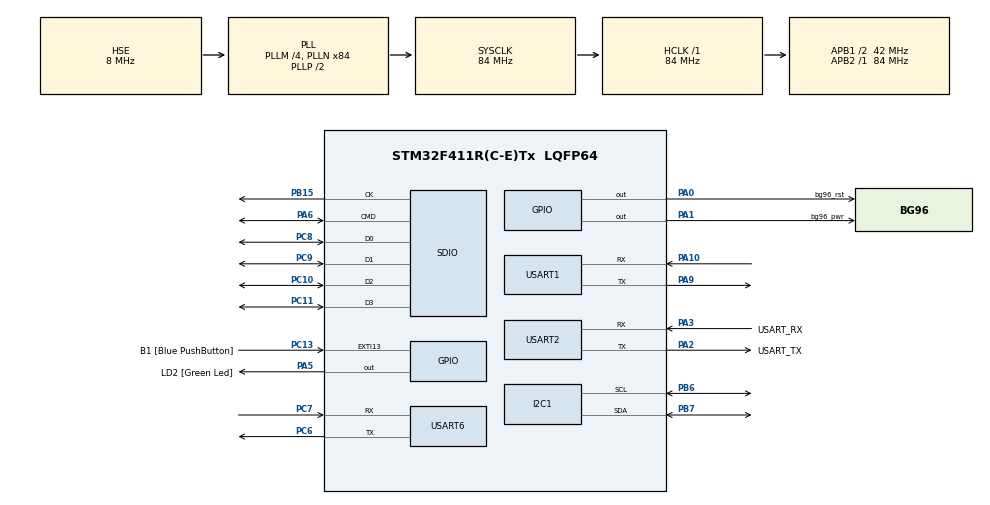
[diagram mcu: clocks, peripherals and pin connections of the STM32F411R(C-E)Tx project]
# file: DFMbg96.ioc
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Mcu.Family=STM32F4
Mcu.Name=STM32F411R(C-E)Tx
Mcu.Package=LQFP64
NVIC.PriorityGroup=NVIC_PRIORITYGROUP_0
NVIC.USART1_IRQn=true\:0\:0\:false\:false\:true\:true\:true
NVIC.USART6_IRQn=true\:0\:0\:false\:false\:true\:true\:true
PA0-WKUP.GPIO_Label=bg96_rst
PA0-WKUP.Signal=GPIO_Output
PA1.GPIO_Label=bg96_pwr
PA1.Signal=GPIO_Output
PA10.Mode=Asynchronous
PA10.Signal=USART1_RX
PA13.GPIO_Label=TMS
PA13.Mode=Serial_Wire
PA13.Signal=SYS_JTMS-SWDIO
PA14.GPIO_Label=TCK
PA14.Mode=Serial_Wire
PA14.Signal=SYS_JTCK-SWCLK
PA2.GPIO_Label=USART_TX
PA2.Mode=Asynchronous
PA2.Signal=USART2_TX
PA3.GPIO_Label=USART_RX
PA3.Mode=Asynchronous
PA3.Signal=USART2_RX
PA5.GPIO_Label=LD2 [Green Led]
PA5.Signal=GPIO_Output
PA6.Mode=SD_4_bits_Wide_bus
PA6.Signal=SDIO_CMD
PA9.Mode=Asynchronous
PA9.Signal=USART1_TX
PB15.Mode=SD_4_bits_Wide_bus
PB15.Signal=SDIO_CK
PB3.GPIO_Label=SWO
PB3.Signal=SYS_JTDO-SWO
PB6.Mode=I2C
PB6.Signal=I2C1_SCL
PB7.Mode=I2C
PB7.Signal=I2C1_SDA
PC10.Mode=SD_4_bits_Wide_bus
PC10.Signal=SDIO_D2
PC11.Mode=SD_4_bits_Wide_bus
PC11.Signal=SDIO_D3
PC13-ANTI_TAMP.GPIO_Label=B1 [Blue PushButton]
PC13-ANTI_TAMP.GPIO_ModeDefaultEXTI=GPIO_MODE_IT_FALLING
PC13-ANTI_TAMP.Signal=GPXTI13
PC14-OSC32_IN.Mode=LSE-External-Oscillator
PC14-OSC32_IN.Signal=RCC_OSC32_IN
PC15-OSC32_OUT.Mode=LSE-External-Oscillator
PC15-OSC32_OUT.Signal=RCC_OSC32_OUT
PC6.Mode=Asynchronous
PC6.Signal=USART6_TX
PC7.Mode=Asynchronous
PC7.Signal=USART6_RX
PC8.Mode=SD_4_bits_Wide_bus
PC8.Signal=SDIO_D0
PC9.Mode=SD_4_bits_Wide_bus
PC9.Signal=SDIO_D1
PH0\ -\ OSC_IN.Mode=HSE-External-Clock-Source
PH0\ -\ OSC_IN.Signal=RCC_OSC_IN
PH1\ -\ OSC_OUT.Mode=HSE-External-Clock-Source
PH1\ -\ OSC_OUT.Signal=RCC_OSC_OUT
ProjectManager.HeapSize=0x200
ProjectManager.StackSize=0x400
ProjectManager.TargetToolchain=STM32CubeIDE
RCC.48MHZClocksFreq_Value=42000000
RCC.AHBFreq_Value=84000000
RCC.APB1CLKDivider=RCC_HCLK_DIV2
RCC.APB1Freq_Value=42000000
RCC.APB1TimFreq_Value=84000000
RCC.APB2Freq_Value=84000000
RCC.APB2TimFreq_Value=84000000
RCC.CortexFreq_Value=84000000
RCC.FLatency-AdvancedSettings=FLASH_LATENCY_2
RCC.HCLKFreq_Value=84000000
RCC.HSE_VALUE=8000000
RCC.HSI_VALUE=16000000
RCC.PLLM=4
RCC.PLLN=84
RCC.PLLSourceVirtual=RCC_PLLSOURCE_HSE
RCC.SYSCLKFreq_VALUE=84000000
RCC.SYSCLKSource=RCC_SYSCLKSOURCE_PLLCLK
RCC.VCOOutputFreq_Value=168000000
USART1.VirtualMode=VM_ASYNC
USART2.VirtualMode=VM_ASYNC
USART6.VirtualMode=VM_ASYNC
VP_TIM3_VS_ClockSourceINT.Mode=Internal
board=NUCLEO-F411RE

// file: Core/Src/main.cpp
/* USER CODE BEGIN Header */
/**
  ******************************************************************************
  * @file           : main.c
  * @brief          : Main program body
  ******************************************************************************
  * @attention
  *
  * <h2><center>&copy; Copyright (c) 2021 STMicroelectronics.
  * All rights reserved.</center></h2>
  *
  * This software component is licensed by ST under BSD 3-Clause license,
  * the "License"; You may not use this file except in compliance with the
  * License. You may obtain a copy of the License at:
  *                        opensource.org/licenses/BSD-3-Clause
  *
  ******************************************************************************
  */
/* USER CODE END Header */
#include "main.h"
#include "i2c.h"
#include "sdio.h"
#include "tim.h"
#include "usart.h"
#include "gpio.h"
/* USER CODE BEGIN Includes */
#include "ArduinoWrapper.h"
#include "UartRingbuffer.h"
#include "at_cmd_parser.h"
/* USER CODE END Includes */

/* USER CODE BEGIN PTD */
ATCmdParser m_parser = ATCmdParser();
/* USER CODE END PTD */

/* USER CODE BEGIN PD */

#define RESP_OK        "OK\r\n"
#define RET_OK         1
#define RET_NOK        -1
#define DEBUG_ENABLE   1
#define DEBUG_DISABLE  0
#define ON     1
#define OFF    0

#define PWR_PIN 32
#define RST_PIN 33

#define MAX_BUF_SIZE        1024

#define BG96_APN_PROTOCOL_IPv4     1
#define BG96_APN_PROTOCOL_IPv6     2
#define BG96_DEFAULT_TIMEOUT       1000
#define BG96_WAIT_TIMEOUT    3000
#define BG96_CONNECT_TIMEOUT       15000
#define BG96_SEND_TIMEOUT    500
#define BG96_RECV_TIMEOUT    500

#define BG96_APN_PROTOCOL    BG96_APN_PROTOCOL_IPv6
#define WM_N400MSE_DEFAULT_BAUD_RATE       115200
#define BG96_PARSER_DELIMITER      "\r\n"

#define CATM1_APN_SKT  "lte-internet.sktelecom.com"

#define CATM1_DEVICE_NAME_BG96     "BG96"
#define DEVNAME         CATM1_DEVICE_NAME_BG96

#define LOGDEBUG(x, ...)     if(CATM1_DEVICE_DEBUG == DEBUG_ENABLE) { printf("\r\n[%s] ", DEVNAME);  printf((x), ##__VA_ARGS__); }
#define MYPRINTF(x, ...)     {printf("\r\n[MAIN] ");  printf((x), ##__VA_ARGS__);}

// Sensors
#define MBED_CONF_IOTSHIELD_SENSOR_CDS     A0
#define MBED_CONF_IOTSHIELD_SENSOR_TEMP    A1

// Debug message settings
#define BG96_PARSER_DEBUG    DEBUG_DISABLE
#define CATM1_DEVICE_DEBUG         DEBUG_ENABLE

#define REQUESTED_PERIODIC_TAU    "10100101"
#define REQUESTED_ACTIVE_TIME     "00100100"

/* MQTT */
#define MQTT_EOF        0x1A
#define MQTT_QOS0       0
#define MQTT_QOS1       1
#define MQTT_QOS2       2
#define MQTT_RETAIN     0

/* SSL/TLS */
// Ciphersuites
#define BG96_TLS_RSA_WITH_AES_256_CBC_SHA           "0x0035"
#define BG96_TLS_RSA_WITH_AES_128_CBC_SHA           "0x002F"
#define BG96_TLS_RSA_WITH_RC4_128_SHA       "0x0005"
#define BG96_TLS_RSA_WITH_RC4_128_MD5       "0x0004"
#define BG96_TLS_RSA_WITH_3DES_EDE_CBC_SHA          "0x000A"
#define BG96_TLS_RSA_WITH_AES_256_CBC_SHA256        "0x003D"
#define BG96_TLS_ECDHE_RSA_WITH_RC4_128_SHA         "0xC011"
#define BG96_TLS_ECDHE_RSA_WITH_3DES_EDE_CBC_SHA    "0xC012"
#define BG96_TLS_ECDHE_RSA_WITH_AES_128_CBC_SHA     "0xC013"
#define BG96_TLS_ECDHE_RSA_WITH_AES_256_CBC_SHA     "0xC014"
#define BG96_TLS_ECDHE_RSA_WITH_AES_128_CBC_SHA256  "0xC027"
#define BG96_TLS_ECDHE_RSA_WITH_AES_256_CBC_SHA384  "0xC028"
#define BG96_TLS_ECDHE_RSA_WITH_AES_128_GCM_SHA256  "0xC02F"
#define BG96_TLS_SUPPORT_ALL    "0xFFFF"

// SSL/TLS version
#define BG96_TLS_VERSION_SSL30  0   // SSL3.0
#define BG96_TLS_VERSION_TLS10  1   // TLS1.0
#define BG96_TLS_VERSION_TLS11  2   // TLS1.1
#define BG96_TLS_VERSION_TLS12  3   // TLS1.2
#define BG96_TLS_VERSION_ALL    4

/* Debug message settings */
#define BG96_PARSER_DEBUG           DEBUG_DISABLE
#define CATM1_DEVICE_DEBUG          DEBUG_ENABLE

/* MQTT Sample */
// MQTT connection state
enum {
  MQTT_STATE_OPEN = 0,
  MQTT_STATE_CONNECT,
  MQTT_STATE_CONNECTED,
  MQTT_STATE_DISCON
};

/* BG96 Config for connect to AWS IoT */
#define AWS_IOT_BG96_SSLTLS_VERSION      4           // 4: All
#define AWS_IOT_BG96_SSLTLS_SECLEVEL     2           // 2: Manage server and client authentication if requested by the remote server
#define AWS_IOT_BG96_SSLTLS_IGNORELOCALTIME      1           // 1: Ignore validity check for certification
#define AWS_IOT_BG96_SSLTLS_CIPHERSUITE          BG96_TLS_RSA_WITH_AES_256_CBC_SHA

        /* AWS IoT MQTT Client */
    char aws_iot_sub_topic[128] = {0, };
    char aws_iot_pub_topic[128] = {0, };
    char aws_iot_sub_topic1[128] = {0, };
    char aws_iot_pub_topic1[128] = {0, };
    char aws_iot_sub_topic2[128] = {0, };
    char aws_iot_pub_topic2[128] = {0, };
    char buf_mqtt_topic[128] = {0, };
    char buf_mqtt_topic1[128] = {0, };
    char buf_mqtt_topic2[128] = {0, };
    char buf_mqtt_recv[AWS_IOT_MQTT_RX_BUF_LEN] = {0, };
    char buf_mqtt_send[AWS_IOT_MQTT_TX_BUF_LEN] = {0, };
    char buf_mqtt_recv1[AWS_IOT_MQTT_RX_BUF_LEN] = {0, };
    char buf_mqtt_send1[AWS_IOT_MQTT_TX_BUF_LEN] = {0, };
    char buf_mqtt_recv2[AWS_IOT_MQTT_RX_BUF_LEN] = {0, };
    char buf_mqtt_send2[AWS_IOT_MQTT_TX_BUF_LEN] = {0, };
    int mqtt_len = 0;
    int mqtt_len1 = 0;
    int mqtt_len2 = 0;
    int mqtt_msgid = 0;
    int mqtt_msgid1 = 0;
    int mqtt_masgid2 = 0;

unsigned long getLocationTime = 0;

char dateBuf[30];
static char last_dateBuf[30];
char utcBuf[30];
static char last_utcBuf[30];
char latBuf[50];
static char last_latBuf[30] = "37.40002";
char lonBuf[50];
static char last_lonBuf[30] = "126.94254";
char timestampBuf[20] = "12345678";

int rstCheck;
typedef struct gps_data_t {
  float utc;      // hhmmss.sss
  float lat;      // latitude. (-)dd.ddddd
  float lon;      // longitude. (-)dd.ddddd
  float hdop;     // Horizontal precision: 0.5-99.9
  float altitude; // altitude of antenna from sea level (meters)
  int fix;        // GNSS position mode 2=2D, 3=3D
  float cog;      // Course Over Ground ddd.mm
  float spkm;     // Speed over ground (Km/h) xxxx.x
  float spkn;     // Speed over ground (knots) xxxx.x
  char date[7];   // data: ddmmyy
  int nsat;       // number of satellites 0-12
} gps_data;

gps_data gps_info;
/* USER CODE END PD */

/* USER CODE BEGIN PV */
UART_HandleTypeDef huart2;
UART_HandleTypeDef huart1;
/* USER CODE END PV */

void SystemClock_Config(void);
/* USER CODE BEGIN PFP */
//void HAL_UART_RxCpltCallback(UART_HandleTypeDef *huart)  //UART에 수신인터럽트 일어나면 이놈이 호출됨
//{
// if (huart->Instance == USART1) //current UART
//  {
//	 m_parser.push(m_parser.rxData);
//	 m_parser.rxFlag = true;
//  }
// 	 HAL_UART_Receive_IT(&huart1, &m_parser.rxData, 1); //다음 수신인터럽트를 준비
// }
/* USER CODE END PFP */

/* USER CODE BEGIN 0 */
//-----------------------------------------------Cat.M1.Device Function-------------------------------------------------------//
//----------------------------------------------------------------------------------------------------------------------------//

//void serialPcInit(void)
//{
//  Serial.begin(115200);
//}
//
//void serialDeviceInit()
//{
//  Serial2.begin(WM_N400MSE_DEFAULT_BAUD_RATE,SERIAL_8N1,16,17);
//}

int8_t setEchoStatus_BG96(bool onoff)
{
  if ( onoff == true )
  {
    if ( !(m_parser.send("ATE1") && m_parser.recv(RESP_OK)) ) {
      LOGDEBUG("Echo On: Failed\r\n");
      return RET_NOK;
    }
    else
    {
      LOGDEBUG("Echo On: Success\r\n");
      return RET_OK;
    }

  }
  else if ( onoff == false )
  {
    if ( !(m_parser.send("ATE0") && m_parser.recv(RESP_OK)) ) {
      LOGDEBUG("Echo Off: Failed\r\n");
      return RET_NOK;
    }
    else
    {
      LOGDEBUG("Echo Off: Success\r\n");
      return RET_OK;
    }
  }
}

int8_t getUsimStatus_BG96(void)
{
  char usim_stat[10], detail[10];
  char buf[40];

  if ( m_parser.send("AT+CPIN?") &&
       m_parser.recv("+CPIN: READY\n") &&
       m_parser.recv(RESP_OK) ) {
    LOGDEBUG("USIM Status: READY\r\n");
    return RET_OK;
  }

  else if ( m_parser.send("AT+CPIN?") &&
    m_parser.recv("+CPIN: %[^,],%[^\n]\n", usim_stat, detail) &&
    m_parser.recv(RESP_OK) ) {
    sprintf((char *)buf, "USIM Satatus: %s, %s", usim_stat, detail);
    LOGDEBUG(buf);
    return RET_NOK;
  }
}

int8_t getNetworkStatus_BG96(void)
{
  char mode[40], stat[40];
  char buf[40];

  if ( m_parser.send("AT+CEREG?") &&
       m_parser.recv("+CEREG: %[^,],%[^\n]\n", mode, stat) &&
       m_parser.recv(RESP_OK) ) {

    if ( (atoi(mode) == 0) && (atoi(stat) == 1) ) {
      LOGDEBUG("Network Status: Attach\r\n");
      return RET_OK;
    }

    else if (( atoi(stat) != 1 )) {
      sprintf((char *)buf, "Network Status: %d, %d", atoi(mode), atoi(stat));
      LOGDEBUG(buf);
      return RET_NOK;
    }
  }
  return RET_NOK;
}

void serialAtParserInit()
{
  m_parser.set_timeout(1000);
  m_parser.set_delimiter("\r");
}
void catm1DeviceInit()
{
//  serialDeviceInit();
  serialAtParserInit();
}

// ----------------------------------------------------------------
// Functions: Cat.M1 Status
// ----------------------------------------------------------------

int8_t waitCatM1Ready()
{
  while (1)
  {
    if (m_parser.recv("RDY")) {
      MYPRINTF("BG96 ready\r\n");
      return RET_OK;
    }
    else if (m_parser.send("AT") && m_parser.recv(RESP_OK))
    {
      MYPRINTF("BG96 already available\r\n");
      return RET_OK;
    }
  }
  return RET_NOK;
}

bool initStatus()
{

  if ( setEchoStatus_BG96(false) != RET_OK )
  {
    return false;
  }

  if ( getUsimStatus_BG96() != RET_OK )
  {
    return false;
  }

  if ( getNetworkStatus_BG96() != RET_OK )
  {
    return false;
  }

  return true;
}

int8_t checknSetApn_BG96(const char * apn) // Configure Parameters of a TCP/IP Context
{
  char resp_str[100];
  char buf[25];
  char buf1[25];

  uint16_t i = 0;
  char * search_pt;

  memset(resp_str, 0, sizeof(resp_str));

  LOGDEBUG("Checking APN...\r\n");

  m_parser.send("AT+QICSGP=1");
  while (1)
  {
    m_parser.read(&resp_str[i++], 1);
    search_pt = strstr(resp_str, "OK\r\n");
    if (search_pt != 0)
    {
      break;
    }
  }

  search_pt = strstr(resp_str, apn);
  if (search_pt == 0)
  {
    sprintf((char *)buf, "Mismatched APN: %s\r\n", resp_str);
    sprintf((char *)buf1, "Storing APN %s...\r\n", apn);
    LOGDEBUG(buf);
    LOGDEBUG(buf1);

    if (!(m_parser.send("AT+QICSGP=1,%d,\"%s\",\"\",\"\",0", BG96_APN_PROTOCOL, apn) && m_parser.recv("OK")))
    {
      return RET_NOK; // failed
    }
  }
  LOGDEBUG("APN Check Done\r\n");

  return RET_OK;
}

void getIMEIInfo_BG96(void)
{
  char m_imei[30];
  char buf[25];

  if ( (m_parser.send("AT*MINFO")
        && m_parser.recv("*MINFO:%*[^,],%*[^,],%[^,],%*[^\n]\n", m_imei)
        && m_parser.recv(RESP_OK)) ) {
    sprintf((char *)buf, "Module IME: %s\r\n", m_imei);
    LOGDEBUG(buf);
  }
}

int8_t getFirmwareVersion_BG96(char * version)
{
  int8_t ret = RET_NOK;

  if (m_parser.send("AT+QGMR") && m_parser.recv("%s\n", version) && m_parser.recv("OK"))
  {
    ret = RET_OK;
  }
  return ret;
}

int8_t getImeiNumber_BG96(char * imei)
{
  int8_t ret = RET_NOK;

  if (m_parser.send("AT+CGSN") && m_parser.recv("%s\n", imei) && m_parser.recv("OK"))
  {
    ret = RET_OK;
  }
  return ret;
}

// ----------------------------------------------------------------
// Functions: Cat.M1 DNS
// ----------------------------------------------------------------

int8_t getIpAddressByName_BG96(const char * name, char * ipstr)
{
  char buf2[50];
  bool ok;
  int  err, ipcount, dnsttl;

  int8_t ret = RET_NOK;

  ok = ( m_parser.send("AT+QIDNSGIP=1,\"%s\"", name)
         && m_parser.recv("OK")
         && m_parser.recv("+QIURC: \"dnsgip\",%d,%d,%d", &err, &ipcount, &dnsttl)
         && err == 0
         && ipcount > 0
       );

  if ( ok ) {
    m_parser.recv("+QIURC: \"dnsgip\",\"%[^\"]\"", ipstr);       //use the first DNS value
    for ( int i = 0; i < ipcount - 1; i++ )
      m_parser.recv("+QIURC: \"dnsgip\",\"%[^\"]\"", buf2);   //and discrard the rest  if >1

    ret = RET_OK;
  }
  return ret;
}

// ----------------------------------------------------------------
// Functions: Cat.M1 PDP context activate / deactivate
// ----------------------------------------------------------------

void setContextActivate_BG96(void)
{
  if ( (m_parser.send("AT+QIACT=1")
        && m_parser.recv(RESP_OK)) ) {
    LOGDEBUG("PDP Context Activation: Success\r\n");
  }
}

int8_t setContextDeactivate_BG96(void) // Deactivate a PDP Context
{
  if ( (m_parser.send("AT+QIDEACT=1")
        && m_parser.recv(RESP_OK)) ) {
    LOGDEBUG("PDP Context Deactivation: Success\r\n");
  }
}

int8_t getIpAddress_BG96(char * ipstr) // IPv4 or IPv6
{
  int8_t ret = RET_NOK;
  int id, state, type; // not used

  m_parser.send("AT+QIACT?");
  if (m_parser.recv("+QIACT: %d,%d,%d,\"%[^\"]\"", &id, &state, &type, ipstr)
      && m_parser.recv("OK")) {
    ret = RET_OK;
  }
  return ret;
}
// ----------------------------------------------------------------
// Functions: Cat.M1 MQTT Publish & Subscribe
// ----------------------------------------------------------------

int8_t openMqttBroker_BG96(char * url, int port)
{
  int8_t ret = RET_NOK;
  int id = 0;
  int result = 0;
  unsigned long lastOpenedTime = 0;         // last time you connected to the server, in milliseconds
  bool done = false;
  //Timer t;

  //t.start();
  lastOpenedTime = millis();

  if (m_parser.send("AT+QMTOPEN=%d,\"%s\",%d", id, url, port) && m_parser.recv("OK")) {
    do {
      done = (m_parser.recv("+QMTOPEN: %d,%d", &id, &result) && (result == 0));

      // MQTT Open: result code sample, refer to BG96_MQTT_Application_Note
      if (result == 1) {
        LOGDEBUG("AT+QMTOPEN result[1]: Wrong parameter");
      } else if (result == 2) {
        LOGDEBUG("AT+QMTOPEN result[2]: MQTT identifier is occupied");
      } else if (result == 3) {
        LOGDEBUG("AT+QMTOPEN result[3]: Failed to activate PDP");
      } else if (result == 4) {
        LOGDEBUG("AT+QMTOPEN result[4]: Failed to parse domain name");
      } else if (result == 5) {
        LOGDEBUG("AT+QMTOPEN result[5]: Network disconnection error");
      }
    } while (!done && (millis() - lastOpenedTime) < BG96_CONNECT_TIMEOUT);

    if (done) {
      ret = RET_OK;
    }
  }
  m_parser.flush();

  return ret;
}

int8_t connectMqttBroker_BG96(char * clientid, char * userid, char * password)
{
  int8_t ret = RET_NOK;
  int id = 0;
  int result = 0;
  int ret_code = 0;

  unsigned long lastConnectedTime = 0;         // last time you connected to the server, in milliseconds
  char buf[100];

  bool done = false;
  //Timer t;

  if ((userid != NULL) && (password != NULL)) {
    m_parser.send("AT+QMTCONN=%d,\"%s\",\"%s\",\"%s\"", id, clientid, userid, password);
  } else {
    m_parser.send("AT+QMTCONN=%d,\"%s\"", id, clientid);
  }

  //t.start();
  lastConnectedTime = millis();

  if (m_parser.recv("OK"))
  {
    do {
      done = (m_parser.recv("+QMTCONN: %d,%d,%d", &id, &result, &ret_code)
      && (result == 0) && (ret_code == 0));

      // MQTT Connect: result sample, refer to BG96_MQTT_Application_Note
      if (result == 1) {
        LOGDEBUG("AT+QMTCONN result[1]: Packet retransmission");
      } else if (result == 2) {
        LOGDEBUG("AT+QMTCONN result[2]: Failed to send packet");
      }

      // MQTT Connect: ret_code sample, refer to BG96_MQTT_Application_Note
      if (result == 1) {
        LOGDEBUG("AT+QMTCONN ret_code[1]: Connection Refused: Unacceptable Protocol Version");
      } else if (result == 2) {
        LOGDEBUG("AT+QMTCONN ret_code[2]: Connection Refused: Identifier Rejected");
      } else if (result == 3) {
        LOGDEBUG("AT+QMTCONN ret_code[3]: Connection Refused: Server Unavailable");
      } else if (result == 4) {
        LOGDEBUG("AT+QMTCONN ret_code[4]: Connection Refused: Bad User Name or Password");
      } else if (result == 5) {
        LOGDEBUG("AT+QMTCONN ret_code[5]: Connection Refused: Not Authorized");
      }
    } while (!done &&(millis() - lastConnectedTime) < BG96_CONNECT_TIMEOUT * 2);

    if (done) {
      ret = RET_OK;
    }
  }
  m_parser.flush();

  return ret;
}

int8_t closeMqttBroker_BG96(void)
{
  int8_t ret = RET_NOK;
  int id = 0;
  int result = 0;
  unsigned long lastClosedTime = 0;    // last time you connected to the server, in milliseconds

  bool done = false;
  //Timer t;

  //t.start();
  lastClosedTime = millis();

  if (m_parser.send("AT+QMTDISC=%d", id) && m_parser.recv("OK")) {
    do {
      done = (m_parser.recv("+QMTDISC: %d,%d", &id, &result));
    } while (!done && (millis() - lastClosedTime) < BG96_CONNECT_TIMEOUT * 2);

    if (done) {
      ret = RET_OK;
    }
  }
  m_parser.flush();

  return ret;
}

int8_t sendMqttPublishMessage_BG96(char * topic, int qos, int retain, char * msg, int len)
{
  int8_t ret = RET_NOK;
  int id = 0;
  int result = 0;
  int sent_msgid = 0;
  static int msgid = 0;

  unsigned long lastSentTime = 0;    // last time you connected to the server, in milliseconds
  char buf[100];

  bool done = false;
  //Timer t;

  if (qos != 0) {
    if (msgid < 0xffff)
      msgid++;
    else
      msgid = 0;
  }

  //t.start();
  lastSentTime = millis();

  m_parser.send("AT+QMTPUB=%d,%d,%d,%d,\"%s\"", id, qos ? msgid : 0, qos, retain, topic);

  if ( !done && m_parser.recv(">") )
    done = (m_parser.write(msg, len) <= 0) & m_parser.send("%c", MQTT_EOF);

  if (m_parser.recv("OK")) {
    do {
      done = (m_parser.recv("+QMTPUB: %d,%d,%d", &id, &sent_msgid, &result));
    } while (!done && (millis() - lastSentTime) < BG96_CONNECT_TIMEOUT * 2); //BG96_CONNECT_TIMEOUT * 2

    if (done) {
      ret = RET_OK;
    }
  }
  m_parser.flush();

  return ret;
}

int8_t setMqttSubscribeTopic_BG96(char * topic, int msgid, int qos)
{
  int8_t ret = RET_NOK;
  int id = 0;
  int result = 0;

  int sent_msgid = 0;
  int qos_level = 0;
  unsigned long lastSetTime = 0;    // last time you connected to the server, in milliseconds

  bool done = false;
  //Timer t;

  m_parser.set_timeout(BG96_CONNECT_TIMEOUT);

  //t.start();
  lastSetTime = millis();

  if (m_parser.send("AT+QMTSUB=%d,%d,\"%s\",%d", id, msgid, topic, qos) && m_parser.recv("OK")) {
    do {
      done = (m_parser.recv("+QMTSUB: %d,%d,%d,%d", &id, &sent_msgid, &result, &qos_level));
    } while (!done && (millis() - lastSetTime) < BG96_CONNECT_TIMEOUT);

    if (done) {
      ret = RET_OK;
    }
  }
  m_parser.set_timeout(BG96_DEFAULT_TIMEOUT);
  m_parser.flush();

  return ret;
}

int8_t checkRecvMqttMessage_BG96(char * topic, int * msgid, char * msg)
{
  int8_t ret = RET_NOK;
  int id = 0;
  bool received = false;

  m_parser.set_timeout(1);
  received = m_parser.recv("+QMTRECV: %d,%d,\"%[^\"]\",\"%[^\"]\"", &id, msgid, topic, msg);
  m_parser.set_timeout(BG96_DEFAULT_TIMEOUT);

  if (received) ret = RET_OK;
  return ret;
}

void dumpMqttSubscribeTopic_BG96(char * topic, int msgid, int qos)
{
  char buf[100];
  sprintf((char *)buf, "[MQTT] Subscribe Topic: \"%s\", ID: %d, QoS: %d\r\n", topic, msgid, qos);
  MYPRINTF(buf);
}

void dumpMqttPublishMessage_BG96(char * topic, char * msg)
{
  char buf[100];
  sprintf((char *)buf, "[MQTT] Published Topic: \"%s\", Message: \"%s\"\r\n", topic, msg);
  MYPRINTF(buf);
}

// ----------------------------------------------------------------
// Functions: MQTT SSL/TLS enable
// ----------------------------------------------------------------

int8_t setMqttTlsEnable_BG96(bool enable)
{
    int8_t ret = RET_NOK;

    int id = 0; // tcp connection id (0 - 6)
    int tls_ctxindex = 0; // ssl context index (0 - 5)

    if(m_parser.send("AT+QMTCFG=\"SSL\",%d,%d,%d", id, enable?1:0, tls_ctxindex) && m_parser.recv("OK")) {
        ret = RET_OK;
    } else {
        LOGDEBUG("MQTT SSL/TLS enable failed\r\n");
    }
    return ret;
}

// ----------------------------------------------------------------
// Functions: Cat.M1 File system
// ----------------------------------------------------------------

int8_t saveFileToStorage_BG96(char * path, const char * buf, int len)
{
    int8_t ret = RET_NOK;
    int timeout_sec = 30;

    bool done = false;
    int upload_size = 0;
    char checksum[10] = {0, };

    m_parser.set_timeout(BG96_WAIT_TIMEOUT);

    if(m_parser.send("AT+QFUPL=\"%s\",%d,%d", path, len, timeout_sec) && m_parser.recv("CONNECT")) {
        done = m_parser.write(buf, len);
        if(done) {
    if(m_parser.recv("+QFUPL: %d,%s\r\n", &upload_size, checksum) && m_parser.recv("OK")) {
        if(len == upload_size) {
LOGDEBUG("File saved: %s, %d, %s\r\n", path, upload_size, checksum);
ret = RET_OK;
        }
    }
        }
    }
    m_parser.set_timeout(BG96_DEFAULT_TIMEOUT);
    if(ret != RET_OK) {
        LOGDEBUG("Save a file to storage failed: %s\r\n", path);
    }
    m_parser.flush();

    delay(100);
    return ret;
}

int8_t eraseFileStorageAll_BG96(void)
{
    int8_t ret = RET_NOK;

    if(m_parser.send("AT+QFDEL=\"*\"") && m_parser.recv("OK")) {
        ret = RET_OK;
    } else {
        LOGDEBUG("Erase storage failed\r\n");
    }

    delay(100);
    return ret;
}

#define MAX_FILE_LIST           10
void dumpFileList_BG96(void)
{
    char _buf[30] = {0, };
    int flen = {0, };
    int fcnt = 0;

    unsigned long lastSentTime = 0;

    bool done = false;
    //Timer t;

    //t.start();
    lastSentTime = millis();

    if(m_parser.send("AT+QFLST")) {
        do {
    if(m_parser.recv("+QFLST: \"%[^\"]\",%d\r\n", _buf, &flen)) {
        LOGDEBUG("File[%d]: %s, %d\r\n", fcnt++, _buf, flen);
        memset(_buf, 0x00, sizeof(_buf));
    }
    else if(m_parser.recv("OK")) {
        done = true;
    }
        } while(!done && (millis() - lastSentTime) < BG96_WAIT_TIMEOUT);
    }
    m_parser.flush();
}

// ----------------------------------------------------------------
// Functions: SSL/TLS config
// ----------------------------------------------------------------

int8_t setTlsCertificatePath_BG96(char * param, char * path)
{
    int8_t ret = RET_NOK;
    int tls_ctxindex = 0;       // ssl context index (0 - 5)

    if(m_parser.send("AT+QSSLCFG=\"%s\",%d,\"%s\"", param, tls_ctxindex, path) && m_parser.recv("OK")) {
        ret = RET_OK;
    } else {
        LOGDEBUG("Set SSL/TLS certificate path failed: %s\r\n", param);
    }
    return ret;
}

// 0: SSL3.0, 1: TLS1.0, 2: TLS1.1, 3: TLS1.2, 4: All
int8_t setTlsConfig_sslversion_BG96(int ver)
{
    int8_t ret = RET_NOK;
    int tls_ctxindex = 0;     // ssl context index (0 - 5)
    char param[] = "sslversion";    // ssl config paramter type

    if(m_parser.send("AT+QSSLCFG=\"%s\",%d,%d", param, tls_ctxindex, ver) && m_parser.recv("OK")) {
        ret = RET_OK;
    } else {
        LOGDEBUG("Set SSL/TLS version failed: %d\r\n", ver);
    }
    return ret;
}

int8_t setTlsConfig_ciphersuite_BG96(char * ciphersuite)    // refer to SSL manual
{
    int8_t ret = RET_NOK;
    int tls_ctxindex = 0;     // ssl context index (0 - 5)
    char param[] = "ciphersuite";           // ssl config paramter type

    if(m_parser.send("AT+QSSLCFG=\"%s\",%d,%s", param, tls_ctxindex, ciphersuite) && m_parser.recv("OK")) {
        ret = RET_OK;
    } else {
        LOGDEBUG("Set SSL/TLS Ciphersuite failed: %d\r\n", ciphersuite);
    }
    return ret;
}

int8_t setTlsConfig_seclevel_BG96(int seclevel)
{
    int8_t ret = RET_NOK;
    int tls_ctxindex = 0;     // ssl context index (0 - 5)
    char sslconfig[] = "seclevel";          // ssl config paramter type

    if(m_parser.send("AT+QSSLCFG=\"%s\",%d,%d", sslconfig, tls_ctxindex, seclevel) && m_parser.recv("OK")) {
        ret = RET_OK;
    } else {
        LOGDEBUG("Set SSL/TLS authentication mode failed: %d\r\n", seclevel);
    }
    return ret;
}

int8_t setTlsConfig_ignoreltime_BG96(bool enable)
{
    int8_t ret = RET_NOK;
    int tls_ctxindex = 0;     // ssl context index (0 - 5)
    char sslconfig[] = "ignorelocaltime";   // ssl config paramter type

    if(m_parser.send("AT+QSSLCFG=\"%s\",%d,%d", sslconfig, tls_ctxindex, enable?1:0) && m_parser.recv("OK")) {
        ret = RET_OK;
    } else {
        LOGDEBUG("Set SSL/TLS ignore validity check option failed: %s\r\n", sslconfig);
    }
    return ret;
}

// ----------------------------------------------------------------
// Functions: AWS IoT samples
// ----------------------------------------------------------------

int8_t aws_iot_connection_process(void)
{
    static int8_t mqtt_state;

    switch(mqtt_state) {
        case MQTT_STATE_CONNECTED:
    break;

        case MQTT_STATE_OPEN:
    if(openMqttBroker_BG96(AWS_IOT_MQTT_HOST, AWS_IOT_MQTT_PORT) == RET_OK) {
        MYPRINTF("[MQTT] Socket open success\r\n");
        mqtt_state = MQTT_STATE_CONNECT;
    } else {
        MYPRINTF("[MQTT] Socket open failed\r\n");
    }
    break;

        case MQTT_STATE_CONNECT:
    if(connectMqttBroker_BG96(AWS_IOT_MQTT_CLIENT_ID, NULL, NULL) == RET_OK) {
        MYPRINTF("[MQTT] Connected, ClientID: \"%s\"\r\n", AWS_IOT_MQTT_CLIENT_ID);
        mqtt_state = MQTT_STATE_CONNECTED;
    } else {
        MYPRINTF("[MQTT] Connect failed\r\n");
        mqtt_state = MQTT_STATE_DISCON;
    }
    break;

        case MQTT_STATE_DISCON:
    if(closeMqttBroker_BG96() == RET_OK) {
        MYPRINTF("[MQTT] Disconnected\r\n");
    }
    mqtt_state = MQTT_STATE_OPEN;
    break;

        default:
    mqtt_state = MQTT_STATE_OPEN;
    break;
    }

    return mqtt_state;
}

// ----------------------------------------------------------------
// Functions: Cat.M1 GPS
// ----------------------------------------------------------------

int8_t setGpsOnOff_BG96(bool onoff)
{
  int8_t ret = RET_NOK;
  char _buf[15];
  char _buf1[30];
  char _buf2[30];

  sprintf((char *)_buf, "%s", onoff ? "AT+QGPS=2" : "AT+QGPSEND");

  if (m_parser.send(_buf) && m_parser.recv("OK")) {
    sprintf((char *)_buf1, "GPS Power: %s\r\n", onoff ? "On" : "Off");
    LOGDEBUG(_buf1);
    ret = RET_OK;
  } else {
    sprintf((char *)_buf2, "Set GPS Power %s failed\r\n", onoff ? "On" : "Off");
    LOGDEBUG(_buf2);
  }
  return ret;
}

int8_t getGpsLocation_BG96(gps_data data)
{
  int8_t ret = RET_NOK;
  char buf1[200];

  bool ok = false;
  //Timer t;

  // Structure init: GPS info
  //data->utc = data->lat = data->lon = data->hdop = data->altitude = data->cog = data->spkm = data->spkn = data->nsat = 0.0;
  //data->fix = 0;
  data.utc = data.lat = data.lon = data.hdop = data.altitude = data.cog = data.spkm = data.spkn = data.nsat = 0.0;
  data.fix = 0;
  //data->date = 0;
  //memset(&data->date, 0x00, 7);
  //strcpy(data->date, "");
  strcpy(data.date, "");

  // timer start
  //t.start();
  getLocationTime = millis();

    //while ( !ok && ( (millis() - getLocationTime) < BG96_CONNECT_TIMEOUT ) ) {
    if (!ok) {
    m_parser.flush();
    m_parser.send((char*)"AT+QGPSLOC=2"); // MS-based mode
    ok = m_parser.recv("+QGPSLOC: ");
    if (ok) {
      m_parser.recv("%s\r\n", buf1);
      sscanf(buf1, "%f,%f,%f,%f,%f,%d,%f,%f,%f,%6s,%d",
     &data.utc, &data.lat, &data.lon, &data.hdop,
     &data.altitude, &data.fix, &data.cog,
     &data.spkm, &data.spkn, &data.date, &data.nsat);

     //dtostrf(data.lat, 7, 5, latBuf);
     //dtostrf(data.lon, 8, 5, lonBuf);
     sprintf((char*)utcBuf, "%f", data.utc);
     sprintf((char*)latBuf, "%f", data.lat);
     sprintf((char*)lonBuf, "%f", data.lon);
     sprintf((char*)dateBuf, "%s", data.date);
     sprintf((char*)timestampBuf, "%.2f,%s", data.utc, data.date);

//     Serial.print("utcBuf 값 : ");
//     Serial.println(utcBuf);
//     Serial.print("latBuf 값 : ");
//     Serial.println(latBuf);
//     Serial.print("lonBuf 값 : ");
//     Serial.println(lonBuf);
//     Serial.print("dateBuf 값 : ");
//     Serial.println(dateBuf);
//     Serial.print("timestampBuf 값 : ");
//     Serial.println(timestampBuf);
//     Serial.println("");
//     Serial.print("buf1 값 : ");
//     Serial.println((char*)buf1);

      ok = m_parser.recv("OK");
    }
  }

  if (ok == true) ret = RET_OK;

  return ret;
}

/*
int bg96_ON(int pwrCheck)
{
  pwrCheck = 0;
 if (pwrCheck == 0) {
  digitalWrite(PWR_PIN, HIGH);
  digitalWrite(RST_PIN, HIGH);
  delay(300); // Setup Time : Greater than or equal to 30ms
  digitalWrite(PWR_PIN, LOW);
  digitalWrite(RST_PIN, LOW);
  delay(600); // Hold Time : Greater than or equal to 500ms
  digitalWrite(PWR_PIN, HIGH);
  delay(5000); // Release Time : Greater than or equal to 4800ms

  pwrCheck = 1;
  }
  return pwrCheck;
}
*/
int bg96_DeviceRST(int rstCheck)
{
  rstCheck = 0;

 if (rstCheck == 0) {
  HAL_GPIO_WritePin(GPIOA, bg96_rst_Pin, GPIO_PIN_SET);
  HAL_GPIO_WritePin(GPIOA, bg96_pwr_Pin, GPIO_PIN_SET);
  delay(300); // Setup Time : Greater than or equal to 30ms
  HAL_GPIO_WritePin(GPIOA, bg96_rst_Pin, GPIO_PIN_RESET);
  HAL_GPIO_WritePin(GPIOA, bg96_pwr_Pin, GPIO_PIN_RESET);
  delay(400); // Hold Time : Greater than or equal to 500ms
  HAL_GPIO_WritePin(GPIOA, bg96_rst_Pin, GPIO_PIN_SET);
  HAL_GPIO_WritePin(GPIOA, bg96_pwr_Pin, GPIO_PIN_SET);
  delay(1000); // Release Time : Greater than or equal to 4800ms

  rstCheck = 1;
  }
  return rstCheck;
}

/* USER CODE END 0 */

int main(void)
{

  /* MCU Configuration--------------------------------------------------------*/

  /* Reset of all peripherals, Initializes the Flash interface and the Systick. */
  HAL_Init();

  /* Configure the system clock */
  SystemClock_Config();

  /* Initialize all configured peripherals */
  MX_GPIO_Init();
  MX_USART2_UART_Init();
  MX_USART1_UART_Init();
  MX_I2C1_Init();
  MX_SDIO_SD_Init();
  MX_TIM3_Init();
  MX_USART6_UART_Init();
  /* USER CODE BEGIN 2 */
//  HAL_UART_Receive_IT(&huart1, &m_parser.rxData, 1);
  Ringbuf_init();

  if (bg96_DeviceRST(rstCheck) == 1 ) {

      //aws_flip();

      //char buf[100];
      //char buf1[40];

      //serialPcInit();
      catm1DeviceInit();

      MYPRINTF("Waiting for Cat.M1 Module Ready...\r\n");

      waitCatM1Ready();

      delay(2000);

      MYPRINTF("System Init Complete\r\n");

    if ( (setEchoStatus_BG96(false)) && (getUsimStatus_BG96()) && (getNetworkStatus_BG96()) )
    	MYPRINTF("System Operation Complete\r\n");
// -> 코드 수정 필요

    checknSetApn_BG96(CATM1_APN_SKT);

    MYPRINTF("[FILE] Save and check AWS certificates\r\n");

    setContextActivate_BG96();

    int mqtt_state = MQTT_STATE_OPEN;

   /* Erase BG96 file storage */
      if(eraseFileStorageAll_BG96() == RET_OK) {
          MYPRINTF("[FILE] Erase BG96 storage complete\r\n");
      };

      /* Store AWS IoT certificate files to BG96 storage */
      saveFileToStorage_BG96(AWS_IOT_ROOT_CA_FILENAME, aws_iot_rootCA, strlen(aws_iot_rootCA));

      saveFileToStorage_BG96(AWS_IOT_CERTIFICATE_FILENAME, aws_iot_certificate, strlen(aws_iot_certificate));

      saveFileToStorage_BG96(AWS_IOT_PRIVATE_KEY_FILENAME, aws_iot_private_key, strlen(aws_iot_private_key));

  #if 0
      dumpFileList_BG96(); // file list dump
  #endif

      MYPRINTF("[SSL/TLS] Set BG96 SSL/TLS configuration\r\n")

      /* BG96 SSL/TLS config */
      // Set AWS IoT Certificate files
      setTlsCertificatePath_BG96("cacert", AWS_IOT_ROOT_CA_FILENAME);     // Root CA
      setTlsCertificatePath_BG96("clientcert", AWS_IOT_CERTIFICATE_FILENAME);     // Client certificate
      setTlsCertificatePath_BG96("clientkey", AWS_IOT_PRIVATE_KEY_FILENAME);      // Client privatekey

      // Set SSL/TLS config
      setTlsConfig_sslversion_BG96(AWS_IOT_BG96_SSLTLS_VERSION);
      setTlsConfig_ciphersuite_BG96(AWS_IOT_BG96_SSLTLS_CIPHERSUITE);
      setTlsConfig_seclevel_BG96(AWS_IOT_BG96_SSLTLS_SECLEVEL);
      setTlsConfig_ignoreltime_BG96(AWS_IOT_BG96_SSLTLS_IGNORELOCALTIME);

      /* BG96 MQTT config: SSL/TLS enable */
      setMqttTlsEnable_BG96(true);

      MYPRINTF("[MQTT] Connect to AWS IoT \"%s:%d\"\r\n", AWS_IOT_MQTT_HOST, AWS_IOT_MQTT_PORT);

      if (setGpsOnOff_BG96(ON) == RET_OK) {
      MYPRINTF("GPS On\r\n")
  #if 0
      if (setGpsOnOff_BG96(OFF) == RET_OK) {
        MYPRINTF("GPS Off\r\n")
      }
  #endif
   }  else {
      MYPRINTF("GPS On failed\r\n")
    }

    }
    else
    	MYPRINTF("GPS On failed\r\n")

      //bool subscribe_complete = false;

      sprintf(aws_iot_sub_topic, "$aws/things/%s/shadow/update/accepted", AWS_IOT_MY_THING_NAME);
      sprintf(aws_iot_pub_topic, "$aws/things/%s/shadow/update", AWS_IOT_MY_THING_NAME);
      sprintf(aws_iot_pub_topic1, "$aws/things/%s/shadow/update", AWS_IOT_MY_THING_NAME);
      sprintf(aws_iot_pub_topic2, "dt/cardata/logger/%s/car-data", AWS_IOT_MY_THING_NAME);

//      reset_trip();
//      flipper.attach(30.0, aws_flip); // Publish messages every 3 seconds
      //flipper.attach(2.0,tripDataSave);

  /* USER CODE END 2 */

  /* Infinite loop */
  /* USER CODE BEGIN WHILE */
  while (1)
  {
	  if (getGpsLocation_BG96(gps_info) == RET_OK) {
	         //MYPRINTF("Get GPS information >>>");
	         //sprintf((char *)utcBuf, "gps_info - utc: %6.3f", gps_info.utc);
	         //MYPRINTF(utcBuf)     // utc: hhmmss.sss
	         //sprintf((char *)latBuf, "gps_info - lat: %2.5f", gps_info.lat);
	         //MYPRINTF(latBuf)     // latitude: (-)dd.ddddd
	         //sprintf((char *)lonBuf, "gps_info - lon: %2.5f", gps_info.lon);
	         //MYPRINTF(lonBuf)     // longitude: (-)dd.ddddd
	         //MYPRINTF("gps_info - hdop: %2.1f", gps_info.hdop)           // Horizontal precision: 0.5-99.9
	         //MYPRINTF("gps_info - altitude: %2.1f", gps_info.altitude)   // altitude of antenna from sea level (meters)
	         //MYPRINTF("gps_info - fix: %d", gps_info.fix)        // GNSS position mode: 2=2D, 3=3D
	         //MYPRINTF("gps_info - cog: %3.2f", gps_info.cog)     // Course Over Ground: ddd.mm
	         //MYPRINTF("gps_info - spkm: %4.1f", gps_info.spkm)           // Speed over ground (Km/h): xxxx.x
	         //MYPRINTF("gps_info - spkn: %4.1f", gps_info.spkn)           // Speed over ground (knots): xxxx.x
	         //MYPRINTF("gps_info - date: %s", gps_info.date)      // data: ddmmyy
	         //MYPRINTF("gps_info - nsat: %d\r\n", gps_info.nsat)          // number of satellites: 0-12

	        //char* last_utcBuf = utcBuf;
	        //char* last_latBuf = latBuf;
	        //char* last_lonBuf = lonBuf;
	        //char* last_dateBuf = dateBuf;
	        strcpy(last_utcBuf, utcBuf);
	        strcpy(last_latBuf, latBuf);
	        strcpy(last_lonBuf, lonBuf);
	        strcpy(last_dateBuf, dateBuf);
	        /*Serial.print("last_utcBuf 값 : ");
	        Serial.println(last_utcBuf);
	        Serial.print("last_latBuf 값 : ");
	        Serial.println(last_latBuf);
	        Serial.print("last_lonBuf 값 : ");
	        Serial.println(last_lonBuf);
	        Serial.print("last_dateBuf 값 : ");
	        Serial.println(last_dateBuf);*/

	       } else delay(1);
	         MYPRINTF("Failed to get GPS information\r\n");

	        if(aws_iot_connection_process() == MQTT_STATE_CONNECTED) {

	        	char car_state[] = "hello soomin~";
	        	uint32_t rpm = 1;
	        	uint32_t kph = 2;
	        	uint32_t engineLoad = 3;
	        	uint16_t runTime = 4;
	        	uint8_t fuelType = 5;
	        	int32_t oilTemp = 6;
	        	uint32_t relativePedalPos = 7;
	        	uint32_t throttle = 8;
	        	uint32_t relativeThrottle = 9;
	        	int32_t intakeAirTemp = 10;
	        	uint32_t fuelLevel = 11;
	        	float mafRate = 12; // uint32_t
	        	uint8_t obdStandards = 13;
	        	uint16_t distTravelWithMIL = 14;
	        	uint16_t distSinceCodesCleared = 15;
	        	uint32_t ctrlModVoltage = 16;
	        	int16_t ambientAirTemp = 17;
	        	uint32_t manifoldPressure = 18;
	        	int32_t engineCoolantTemp = 19;
	        	float commandedThrottleActuator = 20;
	        	static float efficiencyScore = 5.7;
	        	static float safetyScore = 8.3;
	        	static float drivingScore = 10.0;
	        	static float averagedrivingScore = 10.0;

	           // MQTT Subscribe
	       if(setMqttSubscribeTopic_BG96(aws_iot_sub_topic, 1, MQTT_QOS1) == RET_OK) {
	     MYPRINTF("[MQTT] Topic subscribed: \"%s\"\r\n", aws_iot_sub_topic);
	       }

	           // MQTT Publish
	       mqtt_len = sprintf(buf_mqtt_send, "{\"state\":{\"reported\":{\"name\":\"%s\",\"enabled\":\"%s\",\"geo\":{\"latitude\":\"%s\",\"longitude\":\"%s\"}}}}", AWS_IOT_MY_THING_NAME, car_state , last_latBuf, last_lonBuf);
	       if(sendMqttPublishMessage_BG96(aws_iot_pub_topic, MQTT_QOS1, MQTT_RETAIN, buf_mqtt_send, mqtt_len) == RET_OK) {
	     MYPRINTF("[MQTT] Message published: \"%s\", Message: %s\r\n", aws_iot_pub_topic, buf_mqtt_send);
	       }

	        delay(1);

	       mqtt_len2 = sprintf(buf_mqtt_send2, "{\"efficiencyScore\": %f,\"safetyScore\": %f,\"drivingScore\": %f,\"averagedrivingScore\": %f,\"rpm\": %u,\"kph\": %u,\"engineLoad\": %u,\"runTime\": %u,\"fuelType\": %d,\"oilTemp\": %d,\"relativePedalPos\": %u,\"throttle\": %u,\"relativeThrottle\": %u,\"intakeAirTemp\": %d,\"fuelLevel\": %u,\"mafRate\": %f,\"obdStandards\": %u,\"distTravelWithMIL\": %u,\"distSinceCodesCleared\": %u,\"ctrlModVoltage\": %d,\"ambientAirTemp\": %d,\"manifoldPressure\": %d,\"engineCoolantTemp\": %d,\"commandedThrottleActuator\": %f,\"timestamp\": %s}", efficiencyScore, safetyScore, drivingScore, averagedrivingScore, rpm, kph, engineLoad, runTime, fuelType, oilTemp, relativePedalPos, throttle, relativeThrottle, intakeAirTemp, fuelLevel, mafRate, obdStandards, distTravelWithMIL, distSinceCodesCleared, ctrlModVoltage, ambientAirTemp, manifoldPressure, engineCoolantTemp, commandedThrottleActuator, timestampBuf);
	       if(sendMqttPublishMessage_BG96(aws_iot_pub_topic2, MQTT_QOS1, MQTT_RETAIN, buf_mqtt_send2, mqtt_len2) == RET_OK) {
	     MYPRINTF("[MQTT] Message published: \"%s\", Message: %s\r\n", aws_iot_pub_topic2, buf_mqtt_send2);
	       }

	           // MQTT message received
	       if(checkRecvMqttMessage_BG96(buf_mqtt_topic, &mqtt_msgid, buf_mqtt_recv) == RET_OK) {
	     MYPRINTF("[MQTT] Message arrived: Topic \"%s\" ID %d, Message %s\r\n", buf_mqtt_topic, mqtt_msgid, buf_mqtt_recv);
	           }
	       delay(5);
	    }

    /* USER CODE END WHILE */
  }
}
void SystemClock_Config(void)
{
  RCC_OscInitTypeDef RCC_OscInitStruct = {0};
  RCC_ClkInitTypeDef RCC_ClkInitStruct = {0};

  /** Configure the main internal regulator output voltage
  */
  __HAL_RCC_PWR_CLK_ENABLE();
  __HAL_PWR_VOLTAGESCALING_CONFIG(PWR_REGULATOR_VOLTAGE_SCALE1);
  /** Initializes the RCC Oscillators according to the specified parameters
  * in the RCC_OscInitTypeDef structure.
  */
  RCC_OscInitStruct.OscillatorType = RCC_OSCILLATORTYPE_HSE;
  RCC_OscInitStruct.HSEState = RCC_HSE_BYPASS;
  RCC_OscInitStruct.PLL.PLLState = RCC_PLL_ON;
  RCC_OscInitStruct.PLL.PLLSource = RCC_PLLSOURCE_HSE;
  RCC_OscInitStruct.PLL.PLLM = 4;
  RCC_OscInitStruct.PLL.PLLN = 84;
  RCC_OscInitStruct.PLL.PLLP = RCC_PLLP_DIV2;
  RCC_OscInitStruct.PLL.PLLQ = 4;
  if (HAL_RCC_OscConfig(&RCC_OscInitStruct) != HAL_OK)
  {
    Error_Handler();
  }
  /** Initializes the CPU, AHB and APB buses clocks
  */
  RCC_ClkInitStruct.ClockType = RCC_CLOCKTYPE_HCLK|RCC_CLOCKTYPE_SYSCLK
                              |RCC_CLOCKTYPE_PCLK1|RCC_CLOCKTYPE_PCLK2;
  RCC_ClkInitStruct.SYSCLKSource = RCC_SYSCLKSOURCE_PLLCLK;
  RCC_ClkInitStruct.AHBCLKDivider = RCC_SYSCLK_DIV1;
  RCC_ClkInitStruct.APB1CLKDivider = RCC_HCLK_DIV2;
  RCC_ClkInitStruct.APB2CLKDivider = RCC_HCLK_DIV1;

  if (HAL_RCC_ClockConfig(&RCC_ClkInitStruct, FLASH_LATENCY_2) != HAL_OK)
  {
    Error_Handler();
  }
}

void Error_Handler(void)
{
  __disable_irq();
  while (1)
  {
  }
}

/************************ (C) COPYRIGHT STMicroelectronics *****END OF FILE****/
